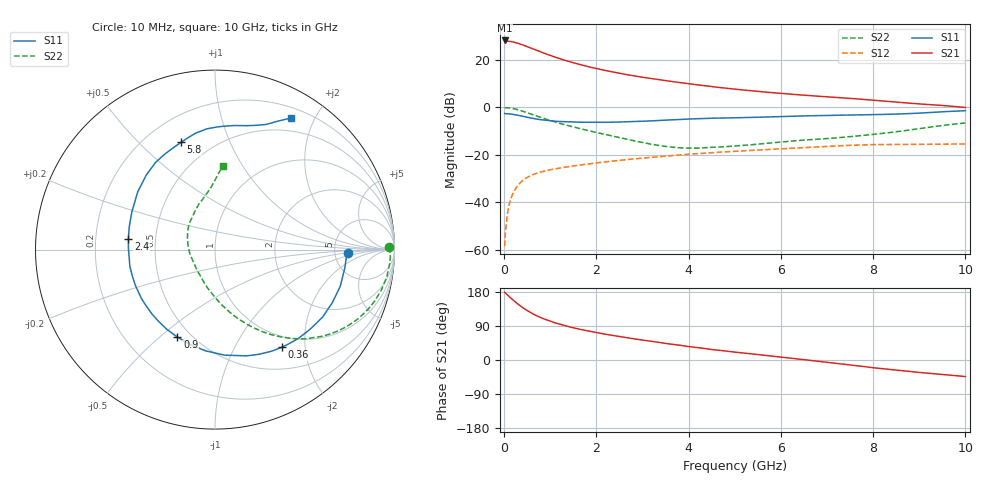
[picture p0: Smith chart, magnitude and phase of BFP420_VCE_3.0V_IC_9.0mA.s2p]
! Infineon Technologies  Discrete & RF Semiconductors
! BFP420
! VCE =  3.0 V,  IC =  9.0 mA
! Common Emitter S-Parameters:  Jan 2016
# GHz  S  MA  R  50
!  f  S11  S21  S12  S22
! GHz  MAG  ANG  MAG  ANG  MAG  ANG  MAG  ANG
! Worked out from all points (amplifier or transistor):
!   233 points, 10 MHz to 10 GHz, reference 50 ohm
!   highest |S21| = 28.1 dB at 10 MHz (marker M1)
!   |S21| within 3 dB of that: start of sweep to 553.6 MHz
!   unconditionally stable (mu >= 1): 2.459 GHz to end of sweep
!   at 200 MHz: K = 0.14, MSG = 31.7 dB, |S12| = -35.9 dB
!   at 1.74 GHz: K = 0.80, MSG = 20.8 dB, |S12| = -24.1 dB
!   at 10 GHz: K = 1.09, MAG = 5.8 dB, |S12| = -15.4 dB
!   S11 on the Smith chart (normalised r, x): 10 MHz: 6.61, -0.56; 360 MHz: 0.82, -1.58; 900 MHz: 0.42, -0.57; 2.4 GHz: 0.35, +0.05; 5.8 GHz: 0.34, +0.67; 10 GHz: 0.33, +1.68
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0.01  0.7388 -1.5  25.34 178.9  0.0012 60.1  0.9708 0.8
0.02  0.7332 -3.1  24.68 177.5  0.0017 78.9  0.9775 -1.7
0.1  0.7272 -16.4  24.45 168.4  0.0082 80.9  0.9691 -9.1
0.195  0.708 -31.2  23.51 158.1  0.0156 74.7  0.9363 -17.5
0.3  0.6785 -47.0  22.06 147.4  0.0229 68.2  0.8846 -25.9
0.36  0.6594 -55.5  21.1 142.0  0.0265 64.9  0.8499 -30.2
0.46  0.6289 -68.5  19.47 133.5  0.0317 59.9  0.7903 -36.7
0.6  0.5899 -85.0  17.25 123.2  0.0375 54.5  0.7091 -44.5
0.7  0.5664 -95.4  15.79 117.0  0.0408 51.5  0.6557 -49.1
0.9  0.5307 -113.2  13.3 106.6  0.0462 47.3  0.5649 -56.8
1.02  0.5164 -122.5  12.08 101.4  0.0489 45.5  0.519 -60.7
1.2  0.5017 -134.7  10.54 94.4  0.0526 43.4  0.4601 -66.1
1.42  0.491 -147.3  9.064 87.3  0.0569 41.7  0.4028 -71.9
1.68  0.4843 -159.9  7.735 80.1  0.0615 40.1  0.348 -78.0
2.4  0.4863 172.9  5.398 63.8  0.0746 36.3  0.2409 -95.1
3.4  0.5298 145.6  3.736 45.7  0.0921 30.7  0.1547 -128.2
4  0.5648 132.7  3.115 35.5  0.1028 26.8  0.1385 -155.0
5.1  0.6032 116.6  2.344 19.6  0.12 18.9  0.1555 166.7
5.8  0.6267 107.6  2.029 10.4  0.1303 14.0  0.1775 149.2
6.8  0.6668 96.1  1.708 -3.3  0.1466 6.3  0.2125 129.4
8.4  0.7129 75.6  1.305 -25.6  0.1646 -9.8  0.2963 102.1
10  0.8454 60.0  0.988 -43.7  0.1694 -21.1  0.4672 84.7
